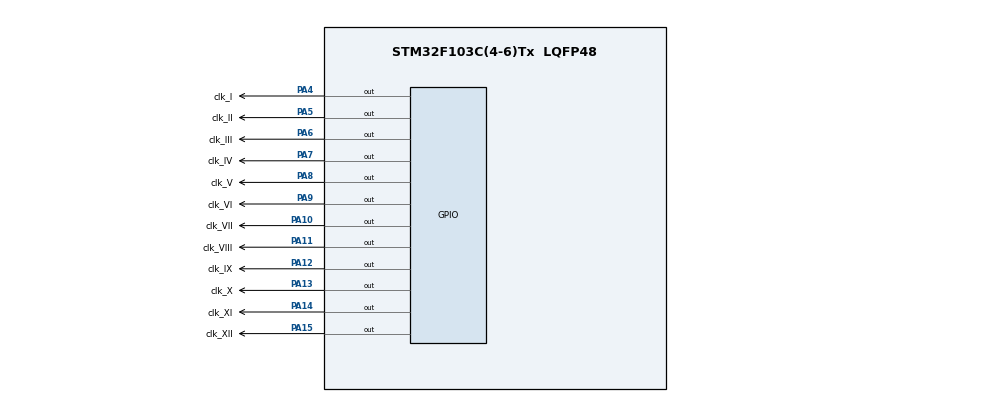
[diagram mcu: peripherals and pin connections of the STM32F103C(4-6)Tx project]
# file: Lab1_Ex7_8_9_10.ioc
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Mcu.Family=STM32F1
Mcu.Name=STM32F103C(4-6)Tx
Mcu.Package=LQFP48
NVIC.PriorityGroup=NVIC_PRIORITYGROUP_4
PA10.GPIO_Label=clk_VII
PA10.Signal=GPIO_Output
PA11.GPIO_Label=clk_VIII
PA11.Signal=GPIO_Output
PA12.GPIO_Label=clk_IX
PA12.Signal=GPIO_Output
PA13.GPIO_Label=clk_X
PA13.Signal=GPIO_Output
PA14.GPIO_Label=clk_XI
PA14.Signal=GPIO_Output
PA15.GPIO_Label=clk_XII
PA15.Signal=GPIO_Output
PA4.GPIO_Label=clk_I
PA4.Signal=GPIO_Output
PA5.GPIO_Label=clk_II
PA5.Signal=GPIO_Output
PA6.GPIO_Label=clk_III
PA6.Signal=GPIO_Output
PA7.GPIO_Label=clk_IV
PA7.Signal=GPIO_Output
PA8.GPIO_Label=clk_V
PA8.Signal=GPIO_Output
PA9.GPIO_Label=clk_VI
PA9.Signal=GPIO_Output
ProjectManager.HeapSize=0x200
ProjectManager.StackSize=0x400
ProjectManager.TargetToolchain=STM32CubeIDE
RCC.APB1Freq_Value=8000000
RCC.APB2Freq_Value=8000000
VP_SYS_VS_ND.Mode=No_Debug
board=custom

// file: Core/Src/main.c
/* USER CODE BEGIN Header */
/**
  ******************************************************************************
  * @file           : main.c
  * @brief          : Main program body
  ******************************************************************************
  * @attention
  *
  * <h2><center>&copy; Copyright (c) 2022 STMicroelectronics.
  * All rights reserved.</center></h2>
  *
  * This software component is licensed by ST under BSD 3-Clause license,
  * the "License"; You may not use this file except in compliance with the
  * License. You may obtain a copy of the License at:
  *                        opensource.org/licenses/BSD-3-Clause
  *
  ******************************************************************************
  */
/* USER CODE END Header */
#include "main.h"

void SystemClock_Config(void);
static void MX_GPIO_Init(void);
/* USER CODE BEGIN PFP */

void setNumberOnClock(int num);
void clearNumberOnClock(int num);
void initialize_hms(int* hour, int* minute, int* second);
void clearAllClock();

/* USER CODE END PFP */

int main(void)
{

  /* MCU Configuration--------------------------------------------------------*/

  /* Reset of all peripherals, Initializes the Flash interface and the Systick. */
  HAL_Init();

  /* Configure the system clock */
  SystemClock_Config();

  /* Initialize all configured peripherals */
  MX_GPIO_Init();

  /* Infinite loop */
  /* USER CODE BEGIN WHILE */
  int hour = -1;
  int minute = -1;
  int second = -1;
  int first_time = 1;
  int index_sec = -1;
  int index_min = -1;
  while (1)
  {
	  if(first_time == 1)
	  {
		  first_time = 0;
		  hour = 3;
		  minute = 25;
		  second = 45;
		  index_min = 0;
		  index_sec = 0;
		  clearAllClock();
	  }
	  initialize_hms(&hour, &minute, &second);

	  //hour
	  if(hour > 12)
	  {
		  hour = 1;
	  }
	  setNumberOnClock(hour);

	  if(hour - 1 != index_sec && hour - 1 != index_min)
	  {
		  clearNumberOnClock(hour -1);
	  }

	  //minute
	  if(minute > 60)
	  {
		  minute = 1;
		  index_min = 0;
	  }
	  while(minute < 60)
	  {
		  //second
		  if(second > 60)
		  {
			  second = 1;
			  index_sec = 0;
		  }
		  if(minute % 5 == 0)
		  {
			  index_min = minute/5;
			  setNumberOnClock(index_min);
			  if(index_min - 1 != index_sec && index_min - 1 != hour)
			  {
				  clearNumberOnClock(index_min -1);
			  }
		  }
		  while(second <= 60)
		  {
			  if(second % 5 == 0)
			  {
				  index_sec = second/5;
				  setNumberOnClock(index_sec);
				  if(index_sec - 1 != index_min && index_sec - 1 != hour)
				  {
					  clearNumberOnClock(index_sec -1);
				  }
			  }
			  HAL_Delay(1000);
			  second++;
		  }
		  minute++;
	  }
	  hour++;
    /* USER CODE END WHILE */

  }
}

void SystemClock_Config(void)
{
  RCC_OscInitTypeDef RCC_OscInitStruct = {0};
  RCC_ClkInitTypeDef RCC_ClkInitStruct = {0};

  /** Initializes the RCC Oscillators according to the specified parameters
  * in the RCC_OscInitTypeDef structure.
  */
  RCC_OscInitStruct.OscillatorType = RCC_OSCILLATORTYPE_HSI;
  RCC_OscInitStruct.HSIState = RCC_HSI_ON;
  RCC_OscInitStruct.HSICalibrationValue = RCC_HSICALIBRATION_DEFAULT;
  RCC_OscInitStruct.PLL.PLLState = RCC_PLL_NONE;
  if (HAL_RCC_OscConfig(&RCC_OscInitStruct) != HAL_OK)
  {
    Error_Handler();
  }
  /** Initializes the CPU, AHB and APB buses clocks
  */
  RCC_ClkInitStruct.ClockType = RCC_CLOCKTYPE_HCLK|RCC_CLOCKTYPE_SYSCLK
                              |RCC_CLOCKTYPE_PCLK1|RCC_CLOCKTYPE_PCLK2;
  RCC_ClkInitStruct.SYSCLKSource = RCC_SYSCLKSOURCE_HSI;
  RCC_ClkInitStruct.AHBCLKDivider = RCC_SYSCLK_DIV1;
  RCC_ClkInitStruct.APB1CLKDivider = RCC_HCLK_DIV1;
  RCC_ClkInitStruct.APB2CLKDivider = RCC_HCLK_DIV1;

  if (HAL_RCC_ClockConfig(&RCC_ClkInitStruct, FLASH_LATENCY_0) != HAL_OK)
  {
    Error_Handler();
  }
}

static void MX_GPIO_Init(void)
{
  GPIO_InitTypeDef GPIO_InitStruct = {0};

  /* GPIO Ports Clock Enable */
  __HAL_RCC_GPIOA_CLK_ENABLE();

  /*Configure GPIO pin Output Level */
  HAL_GPIO_WritePin(GPIOA, clk_I_Pin|clk_II_Pin|clk_III_Pin|clk_IV_Pin
                          |clk_V_Pin|clk_VI_Pin|clk_VII_Pin|clk_VIII_Pin
                          |clk_IX_Pin|clk_X_Pin|clk_XI_Pin|clk_XII_Pin, GPIO_PIN_RESET);

  /*Configure GPIO pins : clk_I_Pin clk_II_Pin clk_III_Pin clk_IV_Pin
                           clk_V_Pin clk_VI_Pin clk_VII_Pin clk_VIII_Pin
                           clk_IX_Pin clk_X_Pin clk_XI_Pin clk_XII_Pin */
  GPIO_InitStruct.Pin = clk_I_Pin|clk_II_Pin|clk_III_Pin|clk_IV_Pin
                          |clk_V_Pin|clk_VI_Pin|clk_VII_Pin|clk_VIII_Pin
                          |clk_IX_Pin|clk_X_Pin|clk_XI_Pin|clk_XII_Pin;
  GPIO_InitStruct.Mode = GPIO_MODE_OUTPUT_PP;
  GPIO_InitStruct.Pull = GPIO_NOPULL;
  GPIO_InitStruct.Speed = GPIO_SPEED_FREQ_LOW;
  HAL_GPIO_Init(GPIOA, &GPIO_InitStruct);

}

/* USER CODE BEGIN 4 */

void setNumberOnClock(int num)
{
	if(num == 0)
	{
		num = 12;
	}
	switch (num) {
		case 1:
			HAL_GPIO_WritePin(clk_I_GPIO_Port, clk_I_Pin, RESET);
			break;
		case 2:
			HAL_GPIO_WritePin(clk_II_GPIO_Port, clk_II_Pin, RESET);
			break;
		case 3:
			HAL_GPIO_WritePin(clk_III_GPIO_Port, clk_III_Pin, RESET);
			break;
		case 4:
			HAL_GPIO_WritePin(clk_IV_GPIO_Port, clk_IV_Pin, RESET);
			break;
		case 5:
			HAL_GPIO_WritePin(clk_V_GPIO_Port, clk_V_Pin, RESET);
			break;
		case 6:
			HAL_GPIO_WritePin(clk_VI_GPIO_Port, clk_VI_Pin, RESET);
			break;
		case 7:
			HAL_GPIO_WritePin(clk_VII_GPIO_Port, clk_VII_Pin, RESET);
			break;
		case 8:
			HAL_GPIO_WritePin(clk_VIII_GPIO_Port, clk_VIII_Pin, RESET);
			break;
		case 9:
			HAL_GPIO_WritePin(clk_IX_GPIO_Port, clk_IX_Pin, RESET);
			break;
		case 10:
			HAL_GPIO_WritePin(clk_X_GPIO_Port, clk_X_Pin, RESET);
			break;
		case 11:
			HAL_GPIO_WritePin(clk_XI_GPIO_Port, clk_XI_Pin, RESET);
			break;
		case 12:
			HAL_GPIO_WritePin(clk_XII_GPIO_Port, clk_XII_Pin, RESET);
			break;
		default:
			break;
	}
}

void clearNumberOnClock(int num)
{
	if(num == 0)
	{
		num = 12;
	}
	switch (num) {
		case 1:
			HAL_GPIO_WritePin(clk_I_GPIO_Port, clk_I_Pin, SET);
			break;
		case 2:
			HAL_GPIO_WritePin(clk_II_GPIO_Port, clk_II_Pin, SET);
			break;
		case 3:
			HAL_GPIO_WritePin(clk_III_GPIO_Port, clk_III_Pin, SET);
			break;
		case 4:
			HAL_GPIO_WritePin(clk_IV_GPIO_Port, clk_IV_Pin, SET);
			break;
		case 5:
			HAL_GPIO_WritePin(clk_V_GPIO_Port, clk_V_Pin, SET);
			break;
		case 6:
			HAL_GPIO_WritePin(clk_VI_GPIO_Port, clk_VI_Pin, SET);
			break;
		case 7:
			HAL_GPIO_WritePin(clk_VII_GPIO_Port, clk_VII_Pin, SET);
			break;
		case 8:
			HAL_GPIO_WritePin(clk_VIII_GPIO_Port, clk_VIII_Pin, SET);
			break;
		case 9:
			HAL_GPIO_WritePin(clk_IX_GPIO_Port, clk_IX_Pin, SET);
			break;
		case 10:
			HAL_GPIO_WritePin(clk_X_GPIO_Port, clk_X_Pin, SET);
			break;
		case 11:
			HAL_GPIO_WritePin(clk_XI_GPIO_Port, clk_XI_Pin, SET);
			break;
		case 12:
			HAL_GPIO_WritePin(clk_XII_GPIO_Port, clk_XII_Pin, SET);
			break;
		default:
			break;
	}

}

void initialize_hms(int* hour, int* minute, int* second)
{
	if(*hour > 12)
	{
		*hour = 1;
	}
	else if(*hour < 1)
	{
		*hour = 12;
	}

	if(*minute > 60)
	{
		*minute = 1;
	}
	else if(*minute < 1)
	{
		*minute = 60;
	}

	if(*second > 60)
	{
		*second = 1;
	}
	else if(*second < 1)
	{
		*second = 60;
	}
}

void clearAllClock()
{
	for(int i = 0; i < 12 ; i++)
	{
		clearNumberOnClock(i);
	}
}

/* USER CODE END 4 */

void Error_Handler(void)
{
  __disable_irq();
  while (1)
  {
  }
}

/************************ (C) COPYRIGHT STMicroelectronics *****END OF FILE****/
